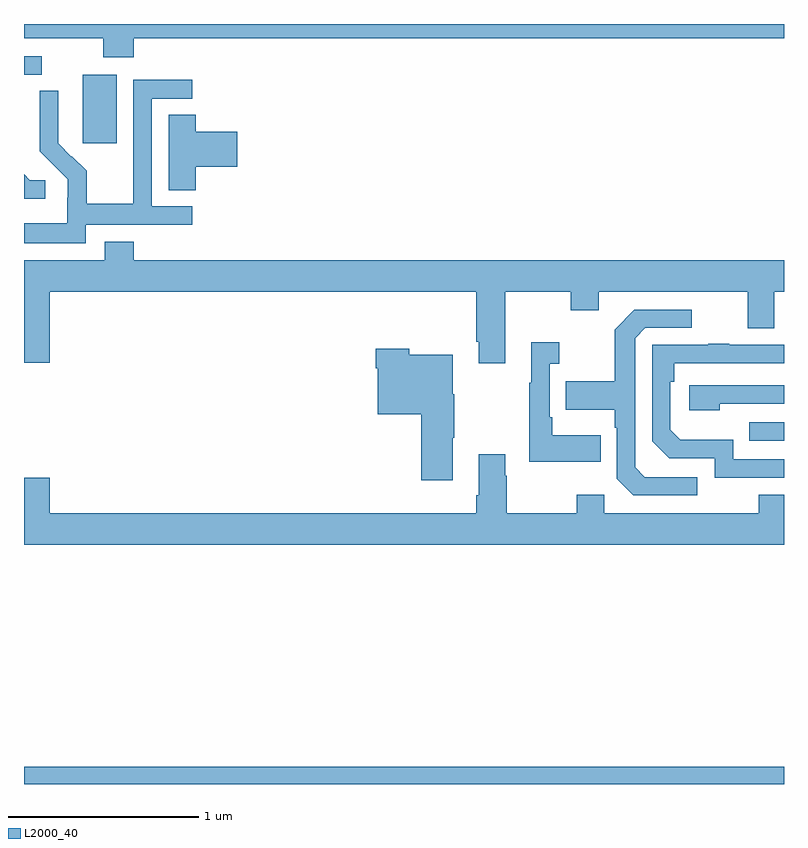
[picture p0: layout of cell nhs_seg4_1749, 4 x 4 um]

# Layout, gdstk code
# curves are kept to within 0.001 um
import gdstk
lib = gdstk.Library(unit=1e-6, precision=1e-09)
def R(c, l, rs):  # rectangles x0, y0, x1, y1
    for r in rs: c.add(gdstk.rectangle(r[:2], r[2:], *l))
def P(c, l, *ps):  # polygons
    for p in ps: c.add(gdstk.Polygon(p, *l))
L2000_40 = (2000, 40)

nhs_seg4_1749 = lib.new_cell('nhs_seg4_1749')
R(nhs_seg4_1749, L2000_40, [(201,788.9,205,788.992), (204.817,790.707,205,790.803), (201.308,792.273,201.487,792.634), (201,792.633,201.094,792.729)])
P(nhs_seg4_1749, L2000_40, [(201.578,792.824),(205,792.824),(205,792.9),(201,792.9),(201,792.824),(201.418,792.824),(201.418,792.725),(201.578,792.725)],
  [(201.324,791.844),(201.886,791.844),(201.886,791.94),(201.672,791.94),(201.672,792.507),(201.886,792.507),(201.886,792.606),(201.576,792.606),(201.576,792.176),(201.574,792.176),(201.574,791.953),(201.329,791.953),(201.329,792.127),(201.252,792.204),(201.249,792.201),(201.179,792.272),(201.18,792.548),(201.084,792.548),(201.084,792.23),(201.23,792.082),(201.23,791.985),(201.228,791.985),(201.228,791.851),(201,791.851),(201,791.747),(201.324,791.747)],
  [(201.905,792.149),(202.123,792.149),(202.123,792.332),(201.905,792.332),(201.905,792.422),(201.761,792.422),(201.761,792.025),(201.905,792.025)],
  [(201.112,792.078),(201.03,792.078),(201,792.108),(201,791.981),(201.112,791.981)],
  [(203.533,791.492),(203.878,791.492),(203.878,791.393),(204.025,791.393),(204.025,791.492),(204.809,791.492),(204.809,791.298),(204.949,791.298),(204.949,791.492),(205,791.492),(205,791.656),(201.578,791.656),(201.578,791.755),(201.425,791.755),(201.425,791.656),(201,791.656),(201,791.118),(201.136,791.118),(201.136,791.492),(203.381,791.492),(203.381,791.227),(203.393,791.227),(203.393,791.115),(203.533,791.115)],
  [(204.544,790.515),(204.267,790.515),(204.216,790.566),(204.216,791.247),(204.27,791.301),(204.514,791.301),(204.514,791.397),(204.213,791.397),(204.108,791.291),(204.108,791.019),(203.851,791.019),(203.851,790.871),(204.108,790.871),(204.108,790.775),(204.12,790.775),(204.12,790.506),(204.207,790.419),(204.544,790.419)],
  [(204.035,790.735),(203.779,790.735),(203.779,790.831),(203.766,790.831),(203.766,791.111),(203.818,791.111),(203.818,791.224),(203.669,791.224),(203.669,791.011),(203.658,791.011),(203.658,790.595),(204.035,790.595)],
  [(205,790.608),(204.732,790.608),(204.732,790.711),(204.455,790.711),(204.402,790.764),(204.402,791.018),(204.422,791.018),(204.422,791.115),(205,791.115),(205,791.211),(204.713,791.211),(204.713,791.216),(204.601,791.216),(204.601,791.211),(204.306,791.211),(204.306,790.704),(204.396,790.614),(204.636,790.614),(204.636,790.512),(205,790.512)],
  [(203.257,790.723),(203.265,790.723),(203.265,790.951),(203.257,790.951),(203.257,791.158),(203.028,791.158),(203.028,791.191),(202.85,791.191),(202.85,791.087),(202.862,791.087),(202.862,790.847),(203.09,790.847),(203.09,790.5),(203.257,790.5)],
  [(204.662,790.902),(205,790.902),(205,790.998),(204.501,790.998),(204.501,790.868),(204.662,790.868)],
  [(205,790.423),(204.868,790.423),(204.868,790.324),(204.054,790.324),(204.054,790.423),(203.908,790.423),(203.908,790.324),(203.541,790.324),(203.541,790.523),(203.533,790.523),(203.533,790.636),(203.393,790.636),(203.393,790.42),(203.381,790.42),(203.381,790.324),(201.136,790.324),(201.136,790.513),(201,790.513),(201,790.16),(205,790.16)])

lib.write_gds('nhs_seg4_1749.gds')
